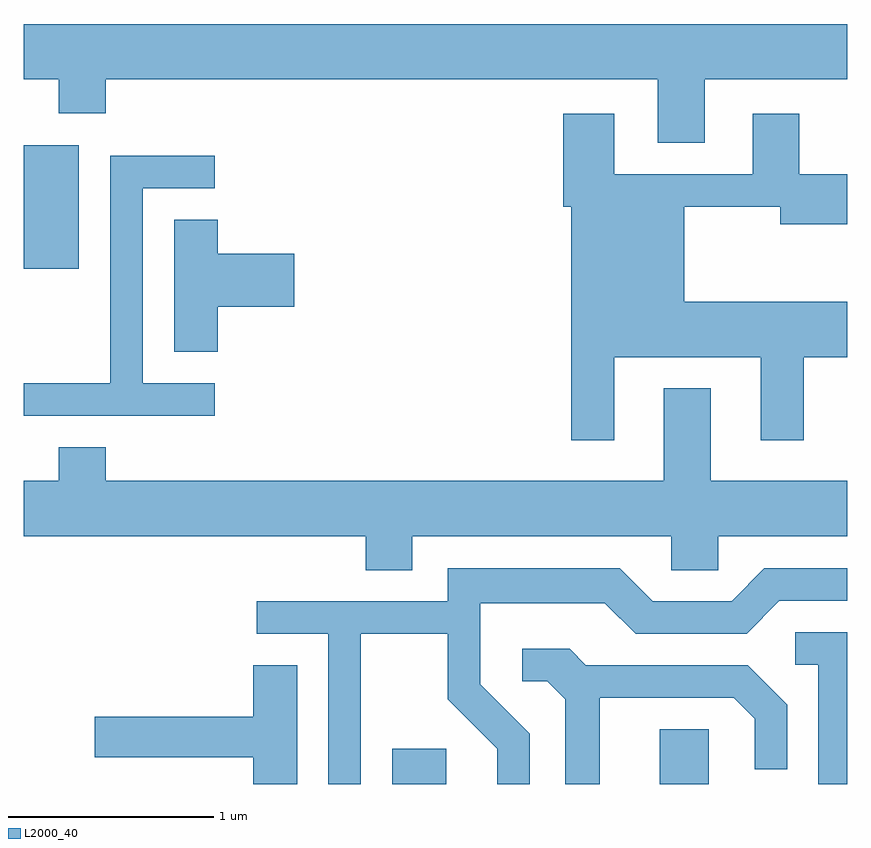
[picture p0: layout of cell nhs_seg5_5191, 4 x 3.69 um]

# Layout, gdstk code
import gdstk
lib = gdstk.Library(unit=1e-6, precision=1e-09)
def R(c, l, rs):  # rectangles x0, y0, x1, y1
    for r in rs: c.add(gdstk.rectangle(r[:2], r[2:], *l))
def P(c, l, *ps):  # polygons
    for p in ps: c.add(gdstk.Polygon(p, *l))
L2000_40 = (2000, 40)

nhs_seg5_5191 = lib.new_cell('nhs_seg5_5191')
R(nhs_seg5_5191, L2000_40, [(341.401,1420.072,341.664,1420.244), (342.701,1420.072,342.939,1420.339), (339.611,1422.576,339.879,1423.174)])
P(nhs_seg5_5191, L2000_40, [(342.919,1423.496),(343.611,1423.496),(343.611,1423.764),(339.611,1423.764),(339.611,1423.496),(339.781,1423.496),(339.781,1423.331),(340.009,1423.331),(340.009,1423.496),(342.691,1423.496),(342.691,1423.186),(342.919,1423.186)],
  [(342.479,1422.146),(343.191,1422.146),(343.191,1421.741),(343.399,1421.741),(343.399,1422.146),(343.611,1422.146),(343.611,1422.414),(342.819,1422.414),(342.819,1422.876),(343.286,1422.876),(343.286,1422.791),(343.611,1422.791),(343.611,1423.034),(343.379,1423.034),(343.379,1423.329),(343.151,1423.329),(343.151,1423.034),(342.479,1423.034),(342.479,1423.329),(342.231,1423.329),(342.231,1422.876),(342.271,1422.876),(342.271,1421.741),(342.479,1421.741)],
  [(340.538,1422.019),(340.189,1422.019),(340.189,1422.966),(340.538,1422.966),(340.538,1423.124),(340.031,1423.124),(340.031,1422.019),(339.611,1422.019),(339.611,1421.861),(340.538,1421.861)],
  [(340.554,1422.391),(340.924,1422.391),(340.924,1422.649),(340.554,1422.649),(340.554,1422.814),(340.341,1422.814),(340.341,1422.171),(340.554,1422.171)],
  [(339.781,1421.709),(339.781,1421.544),(339.611,1421.544),(339.611,1421.276),(341.271,1421.276),(341.271,1421.111),(341.499,1421.111),(341.499,1421.276),(342.756,1421.276),(342.756,1421.111),(342.984,1421.111),(342.984,1421.276),(343.611,1421.276),(343.611,1421.544),(342.949,1421.544),(342.949,1421.994),(342.721,1421.994),(342.721,1421.544),(340.009,1421.544),(340.009,1421.709)],
  [(341.249,1420.801),(341.671,1420.801),(341.671,1420.484),(341.911,1420.244),(341.911,1420.072),(342.069,1420.072),(342.069,1420.317),(341.829,1420.557),(341.829,1420.951),(342.434,1420.951),(342.584,1420.801),(343.122,1420.801),(343.282,1420.961),(343.611,1420.961),(343.611,1421.119),(343.209,1421.119),(343.049,1420.959),(342.667,1420.959),(342.507,1421.119),(341.671,1421.119),(341.671,1420.959),(340.743,1420.959),(340.743,1420.801),(341.091,1420.801),(341.091,1420.072),(341.249,1420.072)],
  [(343.611,1420.809),(343.358,1420.809),(343.358,1420.651),(343.471,1420.651),(343.471,1420.072),(343.611,1420.072)],
  [(342.409,1420.491),(343.059,1420.491),(343.161,1420.389),(343.161,1420.143),(343.319,1420.143),(343.319,1420.457),(343.127,1420.649),(342.342,1420.649),(342.262,1420.729),(342.033,1420.729),(342.033,1420.571),(342.154,1420.571),(342.241,1420.484),(342.241,1420.072),(342.409,1420.072)],
  [(340.939,1420.649),(340.726,1420.649),(340.726,1420.399),(339.956,1420.399),(339.956,1420.201),(340.726,1420.201),(340.726,1420.072),(340.939,1420.072)])

lib.write_gds('nhs_seg5_5191.gds')
